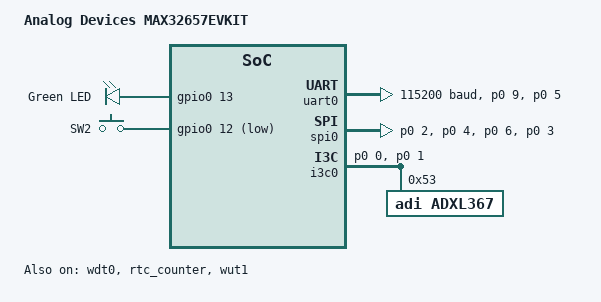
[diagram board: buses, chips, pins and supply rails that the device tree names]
/*
 * Copyright (c) 2024-2025 Analog Devices, Inc.
 *
 * SPDX-License-Identifier: Apache-2.0
 */

#include <adi/max32/max32657-pinctrl.dtsi>
#include <zephyr/dt-bindings/gpio/gpio.h>
#include <zephyr/dt-bindings/gpio/adi-max32-gpio.h>
#include <zephyr/dt-bindings/input/input-event-codes.h>

/ {
	model = "Analog Devices MAX32657EVKIT";
	compatible = "adi,max32657evkit";

	chosen {
		zephyr,console = &uart0;
		zephyr,cortex-m-idle-timer = &counter_wut1;
		zephyr,shell-uart = &uart0;
	};

	leds {
		compatible = "gpio-leds";

		led1: led_1 {
			gpios = <&gpio0 13 GPIO_ACTIVE_HIGH>;
			label = "Green LED";
		};
	};

	buttons {
		compatible = "gpio-keys";

		pb1: pb1 {
			gpios = <&gpio0 12 (GPIO_PULL_UP | GPIO_ACTIVE_LOW)>;
			label = "SW2";
			zephyr,code = <INPUT_KEY_0>;
		};
	};

	/* These aliases are provided for compatibility with samples */
	aliases {
		accel0 = &adxl367;
		led0 = &led1;
		sw0 = &pb1;
		watchdog0 = &wdt0;
	};
};

&uart0 {
	pinctrl-0 = <&uart0_tx_p0_9 &uart0_rx_p0_5>;
	pinctrl-names = "default";
	current-speed = <115200>;
	data-bits = <8>;
	parity = "none";
	status = "okay";
};

&clk_ipo {
	status = "okay";
};

&gpio0 {
	status = "okay";
};

&wdt0 {
	status = "okay";
};

&spi0 {
	status = "okay";
	pinctrl-0 = <&spi0_mosi_p0_2 &spi0_miso_p0_4 &spi0_sck_p0_6 &spi0_ss0_p0_3>;
	pinctrl-names = "default";
};

&rtc_counter {
	status = "okay";
	clock-source = <ADI_MAX32_PRPH_CLK_SRC_INRO>;
};

&i3c0 {
	status = "okay";
	pinctrl-0  = <&i3c_scl_p0_0 &i3c_sda_p0_1>;
	pinctrl-names = "default";
	i2c-scl-hz = <DT_FREQ_K(200)>;
	i3c-scl-hz = <DT_FREQ_K(800)>;
	i3c-od-scl-hz = <DT_FREQ_K(400)>;

	adxl367: adxl367@530000000000000000 {
		compatible = "adi,adxl367";
		reg = <0x53 0x00 0x00>;
		status = "okay";
	};
};

&wut0 {
	clock-source = <ADI_MAX32_PRPH_CLK_SRC_INRO>;
};

&wut1 {
	status = "okay";
	clock-source = <ADI_MAX32_PRPH_CLK_SRC_INRO>;
	wakeup-source;
	counter_wut1: counter {
		status = "okay";
	};
};
